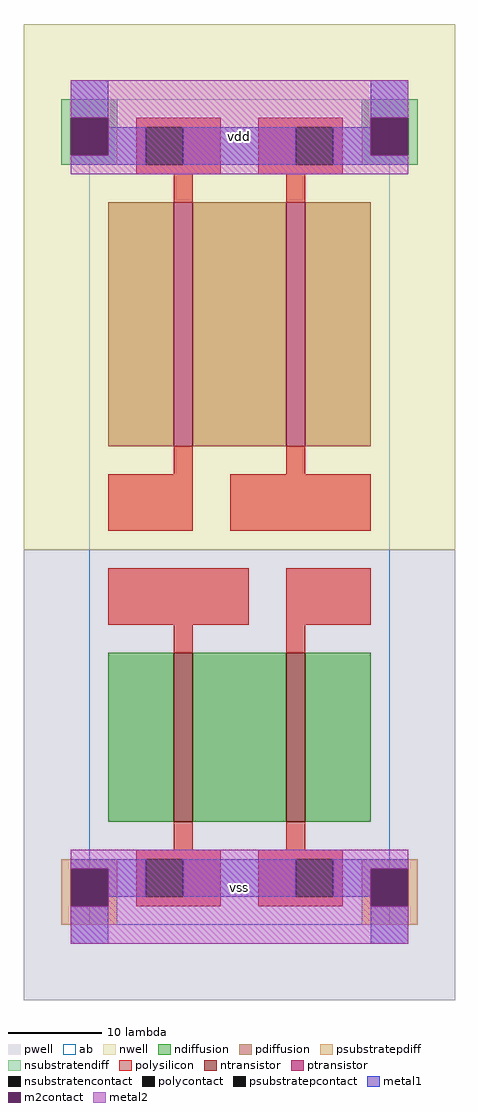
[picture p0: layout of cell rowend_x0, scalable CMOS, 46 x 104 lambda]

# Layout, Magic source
magic
tech scmos
<< ab >>
rect 0 0 32 88
<< pwell >>
rect -7 -8 39 40
<< nwell >>
rect -7 40 39 96
<< polysilicon >>
rect 5 85 14 86
rect 5 81 6 85
rect 10 81 14 85
rect 5 80 14 81
rect 18 85 27 86
rect 18 81 22 85
rect 26 81 27 85
rect 18 80 27 81
rect 9 77 11 80
rect 21 77 23 80
rect 9 48 11 51
rect 21 48 23 51
rect 2 42 11 48
rect 15 42 30 48
rect 2 32 17 38
rect 21 32 30 38
rect 9 29 11 32
rect 21 29 23 32
rect 9 8 11 11
rect 21 8 23 11
rect 5 7 14 8
rect 5 3 6 7
rect 10 3 14 7
rect 5 2 14 3
rect 18 7 27 8
rect 18 3 22 7
rect 26 3 27 7
rect 18 2 27 3
<< ndiffusion >>
rect 2 11 9 29
rect 11 11 21 29
rect 23 11 30 29
<< pdiffusion >>
rect 2 51 9 77
rect 11 51 21 77
rect 23 51 30 77
<< metal1 >>
rect -2 86 2 90
rect 30 86 34 90
rect 2 82 6 85
rect -2 81 6 82
rect 10 81 22 85
rect 26 82 30 85
rect 26 81 34 82
rect -2 6 6 7
rect 2 3 6 6
rect 10 3 22 7
rect 26 6 34 7
rect 26 3 30 6
rect -2 -2 2 2
rect 30 -2 34 2
<< metal2 >>
rect -2 86 34 90
rect 2 82 30 86
rect -2 80 34 82
rect -2 6 34 8
rect 2 2 30 6
rect -2 -2 34 2
<< ntransistor >>
rect 9 11 11 29
rect 21 11 23 29
<< ptransistor >>
rect 9 51 11 77
rect 21 51 23 77
<< polycontact >>
rect 6 81 10 85
rect 22 81 26 85
rect 6 3 10 7
rect 22 3 26 7
<< m2contact >>
rect -2 82 2 86
rect 30 82 34 86
rect -2 2 2 6
rect 30 2 34 6
<< psubstratepcontact >>
rect -2 2 2 6
rect 30 2 34 6
<< nsubstratencontact >>
rect -2 82 2 86
rect 30 82 34 86
<< psubstratepdiff >>
rect -3 6 3 7
rect -3 2 -2 6
rect 2 2 3 6
rect 29 6 35 7
rect 29 2 30 6
rect 34 2 35 6
rect -3 0 3 2
rect 29 0 35 2
<< nsubstratendiff >>
rect -3 86 3 88
rect 29 86 35 88
rect -3 82 -2 86
rect 2 82 3 86
rect -3 81 3 82
rect 29 82 30 86
rect 34 82 35 86
rect 29 81 35 82
<< labels >>
rlabel metal2 16 4 16 4 6 vss
rlabel metal2 16 84 16 84 6 vdd
<< end >>
